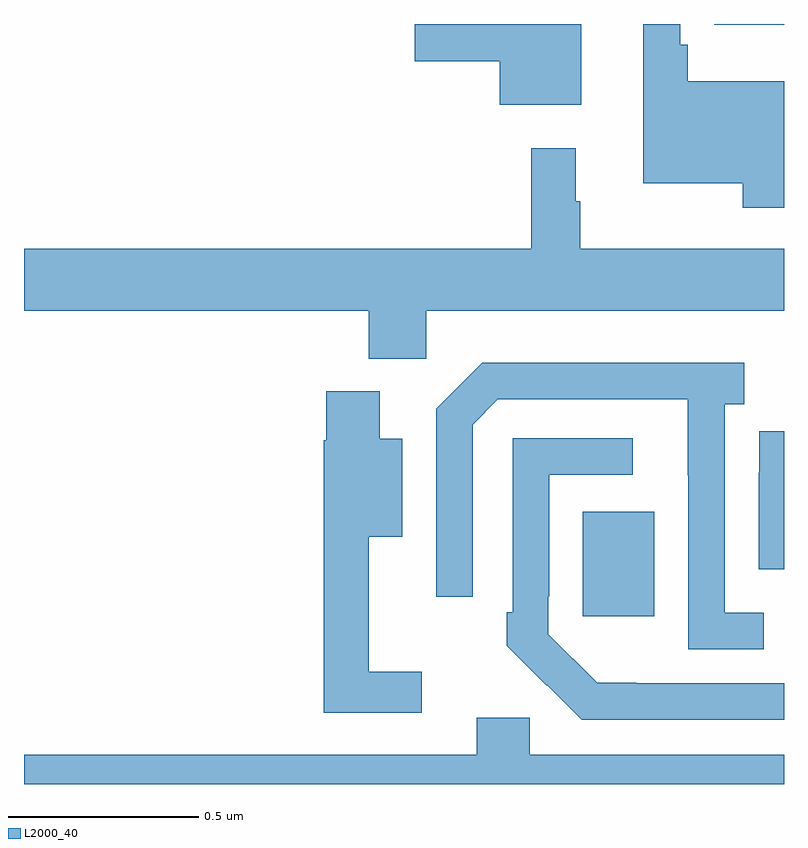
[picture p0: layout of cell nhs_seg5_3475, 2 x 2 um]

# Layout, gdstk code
import gdstk
lib = gdstk.Library(unit=1e-6, precision=1e-09)
def R(c, l, rs):  # rectangles x0, y0, x1, y1
    for r in rs: c.add(gdstk.rectangle(r[:2], r[2:], *l))
def P(c, l, *ps):  # polygons
    for p in ps: c.add(gdstk.Polygon(p, *l))
L2000_40 = (2000, 40)

nhs_seg5_3475 = lib.new_cell('nhs_seg5_3475')
R(nhs_seg5_3475, L2000_40, [(158.471,905.241,158.659,905.515), (158.816,906.797,159,906.799)])
P(nhs_seg5_3475, L2000_40, [(159,906.649),(158.747,906.649),(158.747,906.745),(158.727,906.745),(158.727,906.799),(158.63,906.799),(158.63,906.38),(158.892,906.38),(158.892,906.315),(159,906.315)],
  [(158.467,906.799),(158.028,906.799),(158.028,906.701),(158.252,906.701),(158.252,906.587),(158.467,906.587)],
  [(158.058,906.044),(159,906.044),(159,906.208),(158.464,906.208),(158.464,906.332),(158.452,906.332),(158.452,906.472),(158.335,906.472),(158.335,906.208),(157,906.208),(157,906.044),(157.907,906.044),(157.907,905.918),(158.058,905.918)],
  [(158.947,905.25),(158.844,905.25),(158.844,905.798),(158.896,905.798),(158.896,905.908),(158.206,905.908),(158.085,905.787),(158.085,905.292),(158.181,905.292),(158.181,905.745),(158.247,905.811),(158.747,905.811),(158.747,905.611),(158.748,905.611),(158.748,905.154),(158.947,905.154)],
  [(158.047,905.095),(157.907,905.095),(157.907,905.45),(157.996,905.45),(157.996,905.707),(157.936,905.707),(157.936,905.833),(157.796,905.833),(157.796,905.703),(157.789,905.703),(157.789,904.986),(158.047,904.986)],
  [(159,905.727),(158.935,905.727),(158.935,905.618),(158.934,905.618),(158.934,905.364),(159,905.364)],
  [(159,905.064),(158.611,905.064),(158.611,905.065),(158.508,905.065),(158.379,905.193),(158.379,905.293),(158.382,905.293),(158.382,905.613),(158.602,905.613),(158.602,905.709),(158.286,905.709),(158.286,905.251),(158.271,905.251),(158.271,905.163),(158.376,905.058),(158.377,905.059),(158.468,904.968),(159,904.968)],
  [(159,904.876),(158.331,904.876),(158.331,904.974),(158.192,904.974),(158.192,904.876),(157,904.876),(157,904.799),(159,904.799)])

lib.write_gds('nhs_seg5_3475.gds')
